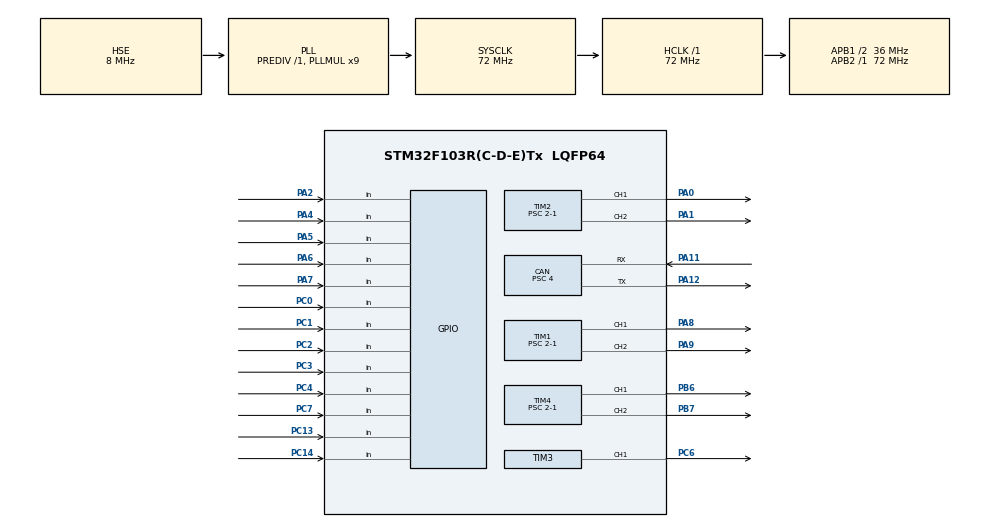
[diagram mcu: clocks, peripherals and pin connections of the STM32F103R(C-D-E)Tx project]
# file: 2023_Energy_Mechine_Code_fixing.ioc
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CAN.ABOM=DISABLE
CAN.AWUM=ENABLE
CAN.BS1=CAN_BS1_5TQ
CAN.BS2=CAN_BS2_3TQ
CAN.CalculateBaudRate=1000000
CAN.CalculateTimeBit=1000
CAN.CalculateTimeQuantum=111.11111111111111
CAN.Prescaler=4
CAN.SJW=CAN_SJW_1TQ
CAN.TXFP=ENABLE
Dma.Request0=TIM2_CH1
Dma.Request1=TIM2_CH2/CH4
Dma.Request2=TIM3_CH1/TRIG
Dma.Request3=TIM1_CH1
Dma.Request4=TIM1_CH2
Dma.Request5=TIM4_CH1
Dma.Request6=TIM4_CH2
Dma.TIM1_CH1.3.Direction=DMA_MEMORY_TO_PERIPH
Dma.TIM1_CH1.3.Instance=DMA1_Channel2
Dma.TIM1_CH1.3.MemDataAlignment=DMA_MDATAALIGN_HALFWORD
Dma.TIM1_CH1.3.MemInc=DMA_MINC_ENABLE
Dma.TIM1_CH1.3.Mode=DMA_CIRCULAR
Dma.TIM1_CH1.3.PeriphDataAlignment=DMA_PDATAALIGN_HALFWORD
Dma.TIM1_CH1.3.PeriphInc=DMA_PINC_DISABLE
Dma.TIM1_CH1.3.Priority=DMA_PRIORITY_MEDIUM
Dma.TIM1_CH2.4.Direction=DMA_MEMORY_TO_PERIPH
Dma.TIM1_CH2.4.Instance=DMA1_Channel3
Dma.TIM1_CH2.4.MemDataAlignment=DMA_MDATAALIGN_HALFWORD
Dma.TIM1_CH2.4.MemInc=DMA_MINC_ENABLE
Dma.TIM1_CH2.4.Mode=DMA_CIRCULAR
Dma.TIM1_CH2.4.PeriphDataAlignment=DMA_PDATAALIGN_HALFWORD
Dma.TIM1_CH2.4.PeriphInc=DMA_PINC_DISABLE
Dma.TIM1_CH2.4.Priority=DMA_PRIORITY_MEDIUM
Dma.TIM2_CH1.0.Direction=DMA_MEMORY_TO_PERIPH
Dma.TIM2_CH1.0.Instance=DMA1_Channel5
Dma.TIM2_CH1.0.MemDataAlignment=DMA_MDATAALIGN_HALFWORD
Dma.TIM2_CH1.0.MemInc=DMA_MINC_ENABLE
Dma.TIM2_CH1.0.Mode=DMA_CIRCULAR
Dma.TIM2_CH1.0.PeriphDataAlignment=DMA_PDATAALIGN_HALFWORD
Dma.TIM2_CH1.0.PeriphInc=DMA_PINC_DISABLE
Dma.TIM2_CH1.0.Priority=DMA_PRIORITY_MEDIUM
Dma.TIM2_CH2/CH4.1.Direction=DMA_MEMORY_TO_PERIPH
Dma.TIM2_CH2/CH4.1.Instance=DMA1_Channel7
Dma.TIM2_CH2/CH4.1.MemDataAlignment=DMA_MDATAALIGN_HALFWORD
Dma.TIM2_CH2/CH4.1.MemInc=DMA_MINC_ENABLE
Dma.TIM2_CH2/CH4.1.Mode=DMA_CIRCULAR
Dma.TIM2_CH2/CH4.1.PeriphDataAlignment=DMA_PDATAALIGN_HALFWORD
Dma.TIM2_CH2/CH4.1.PeriphInc=DMA_PINC_DISABLE
Dma.TIM2_CH2/CH4.1.Priority=DMA_PRIORITY_MEDIUM
Dma.TIM3_CH1/TRIG.2.Direction=DMA_MEMORY_TO_PERIPH
Dma.TIM3_CH1/TRIG.2.Instance=DMA1_Channel6
Dma.TIM3_CH1/TRIG.2.MemDataAlignment=DMA_MDATAALIGN_HALFWORD
Dma.TIM3_CH1/TRIG.2.MemInc=DMA_MINC_ENABLE
Dma.TIM3_CH1/TRIG.2.Mode=DMA_CIRCULAR
Dma.TIM3_CH1/TRIG.2.PeriphDataAlignment=DMA_PDATAALIGN_HALFWORD
Dma.TIM3_CH1/TRIG.2.PeriphInc=DMA_PINC_DISABLE
Dma.TIM3_CH1/TRIG.2.Priority=DMA_PRIORITY_MEDIUM
Dma.TIM4_CH1.5.Direction=DMA_MEMORY_TO_PERIPH
Dma.TIM4_CH1.5.Instance=DMA1_Channel1
Dma.TIM4_CH1.5.MemDataAlignment=DMA_MDATAALIGN_HALFWORD
Dma.TIM4_CH1.5.MemInc=DMA_MINC_ENABLE
Dma.TIM4_CH1.5.Mode=DMA_CIRCULAR
Dma.TIM4_CH1.5.PeriphDataAlignment=DMA_PDATAALIGN_HALFWORD
Dma.TIM4_CH1.5.PeriphInc=DMA_PINC_DISABLE
Dma.TIM4_CH1.5.Priority=DMA_PRIORITY_MEDIUM
Dma.TIM4_CH2.6.Direction=DMA_MEMORY_TO_PERIPH
Dma.TIM4_CH2.6.Instance=DMA1_Channel4
Dma.TIM4_CH2.6.MemDataAlignment=DMA_MDATAALIGN_HALFWORD
Dma.TIM4_CH2.6.MemInc=DMA_MINC_ENABLE
Dma.TIM4_CH2.6.Mode=DMA_CIRCULAR
Dma.TIM4_CH2.6.PeriphDataAlignment=DMA_PDATAALIGN_HALFWORD
Dma.TIM4_CH2.6.PeriphInc=DMA_PINC_DISABLE
Dma.TIM4_CH2.6.Priority=DMA_PRIORITY_MEDIUM
Mcu.Family=STM32F1
Mcu.Name=STM32F103R(C-D-E)Tx
Mcu.Package=LQFP64
NVIC.CAN1_RX1_IRQn=true\:5\:0\:true\:false\:true\:true\:true\:true
NVIC.DMA1_Channel1_IRQn=true\:0\:0\:false\:false\:true\:false\:true\:true
NVIC.DMA1_Channel2_IRQn=true\:0\:0\:false\:false\:true\:false\:true\:true
NVIC.DMA1_Channel3_IRQn=true\:0\:0\:false\:false\:true\:false\:true\:true
NVIC.DMA1_Channel4_IRQn=true\:0\:0\:false\:false\:true\:false\:true\:true
NVIC.DMA1_Channel5_IRQn=true\:0\:0\:false\:false\:true\:false\:true\:true
NVIC.DMA1_Channel6_IRQn=true\:0\:0\:false\:false\:true\:false\:true\:true
NVIC.DMA1_Channel7_IRQn=true\:0\:0\:false\:false\:true\:false\:true\:true
NVIC.PriorityGroup=NVIC_PRIORITYGROUP_4
NVIC.USB_LP_CAN1_RX0_IRQn=true\:0\:0\:false\:false\:true\:true\:true\:true
PA0-WKUP.Signal=S_TIM2_CH1_ETR
PA1.Signal=S_TIM2_CH2
PA11.Mode=CAN_Activate
PA11.Signal=CAN_RX
PA12.GPIO_Speed=GPIO_SPEED_FREQ_HIGH
PA12.Mode=CAN_Activate
PA12.Signal=CAN_TX
PA13.Mode=Serial_Wire
PA13.Signal=SYS_JTMS-SWDIO
PA14.Mode=Serial_Wire
PA14.Signal=SYS_JTCK-SWCLK
PA2.Signal=GPIO_Input
PA4.GPIO_PuPd=GPIO_PULLUP
PA4.Signal=GPIO_Input
PA5.GPIO_PuPd=GPIO_PULLUP
PA5.Signal=GPIO_Input
PA6.GPIO_PuPd=GPIO_PULLUP
PA6.Signal=GPIO_Input
PA7.GPIO_PuPd=GPIO_PULLUP
PA7.Signal=GPIO_Input
PA8.Signal=S_TIM1_CH1
PA9.Signal=S_TIM1_CH2
PB6.Signal=S_TIM4_CH1
PB7.Signal=S_TIM4_CH2
PC0.GPIO_PuPd=GPIO_PULLUP
PC0.Signal=GPIO_Input
PC1.GPIO_PuPd=GPIO_PULLUP
PC1.Signal=GPIO_Input
PC13-TAMPER-RTC.GPIO_PuPd=GPIO_PULLUP
PC13-TAMPER-RTC.Signal=GPIO_Input
PC14-OSC32_IN.GPIO_PuPd=GPIO_PULLUP
PC14-OSC32_IN.Signal=GPIO_Input
PC2.GPIO_PuPd=GPIO_PULLUP
PC2.Signal=GPIO_Input
PC3.GPIO_PuPd=GPIO_PULLUP
PC3.Signal=GPIO_Input
PC4.GPIO_PuPd=GPIO_PULLUP
PC4.Signal=GPIO_Input
PC6.Signal=S_TIM3_CH1
PC7.GPIO_PuPd=GPIO_PULLUP
PC7.Signal=GPIO_Input
PD0-OSC_IN.Mode=HSE-External-Oscillator
PD0-OSC_IN.Signal=RCC_OSC_IN
PD1-OSC_OUT.Mode=HSE-External-Oscillator
PD1-OSC_OUT.Signal=RCC_OSC_OUT
ProjectManager.HeapSize=0x200
ProjectManager.StackSize=0x400
ProjectManager.TargetToolchain=MDK-ARM V5
RCC.AHBFreq_Value=72000000
RCC.APB1CLKDivider=RCC_HCLK_DIV2
RCC.APB1Freq_Value=36000000
RCC.APB1TimFreq_Value=72000000
RCC.APB2Freq_Value=72000000
RCC.APB2TimFreq_Value=72000000
RCC.HCLKFreq_Value=72000000
RCC.PLLMUL=RCC_PLL_MUL9
RCC.PLLSourceVirtual=RCC_PLLSOURCE_HSE
RCC.SYSCLKFreq_VALUE=72000000
RCC.SYSCLKSource=RCC_SYSCLKSOURCE_PLLCLK
RCC.USBFreq_Value=72000000
SH.S_TIM1_CH1.0=TIM1_CH1,PWM Generation1 CH1
SH.S_TIM1_CH2.0=TIM1_CH2,PWM Generation2 CH2
SH.S_TIM2_CH1_ETR.0=TIM2_CH1,PWM Generation1 CH1
SH.S_TIM2_CH2.0=TIM2_CH2,PWM Generation2 CH2
SH.S_TIM3_CH1.0=TIM3_CH1,PWM Generation1 CH1
SH.S_TIM4_CH1.0=TIM4_CH1,PWM Generation1 CH1
SH.S_TIM4_CH2.0=TIM4_CH2,PWM Generation2 CH2
TIM1.Channel-PWM\ Generation1\ CH1=TIM_CHANNEL_1
TIM1.Channel-PWM\ Generation2\ CH2=TIM_CHANNEL_2
TIM1.Period=45-1
TIM1.Prescaler=2-1
TIM1.Pulse-PWM\ Generation1\ CH1=20
TIM2.Channel-PWM\ Generation1\ CH1=TIM_CHANNEL_1
TIM2.Channel-PWM\ Generation2\ CH2=TIM_CHANNEL_2
TIM2.Period=45-1
TIM2.Prescaler=2-1
TIM2.Pulse-PWM\ Generation1\ CH1=15
TIM3.Channel-PWM\ Generation1\ CH1=TIM_CHANNEL_1
TIM3.Period=45-1
TIM3.Prescaler=2-1
TIM3.Pulse-PWM\ Generation1\ CH1=20
TIM4.Channel-PWM\ Generation1\ CH1=TIM_CHANNEL_1
TIM4.Channel-PWM\ Generation2\ CH2=TIM_CHANNEL_2
TIM4.Period=45
TIM4.Prescaler=2-1
VP_TIM1_VS_ClockSourceINT.Mode=Internal
VP_TIM2_VS_ClockSourceINT.Mode=Internal
board=custom

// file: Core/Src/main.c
/* USER CODE BEGIN Header */
/**
  ******************************************************************************
  * @file           : main.c
  * @brief          : Main program body
  ******************************************************************************
  * @attention
  *  2023 RobotPiolts
  *  能量机关小主控代码
  *  作者：zs
	*  邮件：szhangszu@163.com
	*  QQ:   1273890169
  *
  *
  *
  ******************************************************************************
  */
/* USER CODE END Header */
#include "main.h"
#include "can.h"
#include "dma.h"
#include "tim.h"
#include "gpio.h"

/* USER CODE BEGIN Includes */
#include "WS2812.h"
#include "can_protocal.h"
#include "Flag_State.h"

/* USER CODE END Includes */

/* USER CODE BEGIN PTD */
uint8_t up_state;
uint16_t cntt;
uint16_t down_cntt;
uint16_t Twinkle_time_cnt, Twinkle_time_cnt_times;
Rings_Key_t Rings_Key;
Rings_Key_record_t Rings_Key_record;
uint16_t buffer_time;
void state_1(void);
void state_2(void);
/* USER CODE END PTD */

/* USER CODE BEGIN PD */
#define YES 1
#define NO  0

//五块符叶主控序号，0-4

#define BOARD_NUMBER   1

//五块符叶主控序号，0-4

#define RED_NUM       150
#define GREEN_NUM     150
#define BLUE_NUM      150
/* USER CODE END PD */

void SystemClock_Config(void);

int main(void)
{

  /* MCU Configuration--------------------------------------------------------*/

  /* Reset of all peripherals, Initializes the Flash interface and the Systick. */
  HAL_Init();

  /* Configure the system clock */
  SystemClock_Config();

  /* Initialize all configured peripherals */
  MX_GPIO_Init();
  MX_DMA_Init();
  MX_CAN_Init();
  MX_TIM2_Init();
  MX_TIM3_Init();
  MX_TIM1_Init();
  MX_TIM4_Init();
  /* USER CODE BEGIN 2 */
  CAN1_Init();
  /* USER CODE END 2 */

  /* Infinite loop */
  /* USER CODE BEGIN WHILE */
		/* 标志位初始化 */
	Big_Fu_info_Init(Big_Fu_info);
	WS_WriteAll_RGB_FRAME_DOWN(0,0,0);
	WS_WriteAll_RGB_FRAME(0,0,0);
	WS_WriteAll_RGB_REC(0,0,0);
	WS_WriteAll_RGB_FRAME_UP(0,0,0);
	WS_CloseAll_Circle();

uint32_t which=1;
uint32_t sum=3;
HAL_Delay((which-1)*2500);
for(uint32_t i=0;i<100000000;i++)
{
// light(which,sum);
//	which++;
//	if(which==sum)
//	{which=1;}

//	HAL_Delay((which-1)*2500);
	state_1();
	HAL_Delay(2500);
	state_2();
	HAL_Delay(3*2500);
}

	/* 标志位初始化 */
//	Big_Fu_info_Init(Big_Fu_info);
//	WS_WriteAll_RGB_FRAME_DOWN(0,0,0);
//	WS_WriteAll_RGB_FRAME(0,0,0);
//	WS_WriteAll_RGB_REC(0,0,0);
//	WS_WriteAll_RGB_FRAME_UP(0,0,0);
//	WS_CloseAll_Circle();
////          HAL_Delay(800);
////		 HAL_Delay(5800);
////      HAL_Delay(10800);
//			HAL_Delay(15800);
////HAL_Delay(20800);
//		WS_Write_Cross(0,0,255);
//		WS_Write_RGB_TWO_RING(0,0,255);
//		WS_Write_RGB_SEVEN_RING(0,0,255);
//		WS_Write_RGB_NINE_RING(0,0,255);
////
////		WS_WriteAll_RGB_FRAME_DOWN(0,0,255);
////		WS_WriteAll_RGB_FRAME_UP(0,0,255);
//////    WS_WriteAll_RGB_FRAME(0,0,255);
//////      HAL_Delay(800);

////				WS_Write_Cross(0,0,255);
////		WS_Write_RGB_TWO_RING(0,0,255);
////		WS_Write_RGB_SEVEN_RING(0,0,255);
////		WS_Write_RGB_NINE_RING(0,0,255);
//////
//////
//////		WS_Write_RGB_ALL_RING(0,0,225);
////		WS_WriteAll_RGB_FRAME_DOWN(0,0,255);
////		WS_WriteAll_RGB_FRAME_UP(0,0,255);
//////      WS_WriteAll_RGB_FRAME(0,0,255);
////  		LED_Blue_rectangle_current(20000,0,0,255);
////			HAL_Delay(10000000);
////    HAL_Delay(2000);
////		HAL_Delay(5000);
//		HAL_Delay(8000);
//// 	 HAL_Delay(9000);
////		HAL_Delay(12000);

//				WS_Write_Cross(0,0,255);
//		WS_Write_RGB_TWO_RING(0,0,255);
//		WS_Write_RGB_SEVEN_RING(0,0,255);
//		WS_Write_RGB_NINE_RING(0,0,255);
////
//////
//////		WS_Write_RGB_ALL_RING(0,0,225);
//		WS_WriteAll_RGB_FRAME_DOWN(0,0,255);
//		WS_WriteAll_RGB_FRAME_UP(0,0,255);
////      WS_WriteAll_RGB_FRAME(0,0,255);
//  		LED_Blue_rectangle_current(20000,0,0,255);
//			HAL_Delay(2000);
//
//			WS_WriteAll_RGB_REC(0,0,150);
//			WS_WriteAll_RGB_FRAME(0,0,150);
//				WS_CloseAll_Circle();
//				WS_Write_RGB_FIVE_RING(0,0,255);
//
//			HAL_Delay(10000000);
  while (1)
  {
//		if(HAL_GPIO_ReadPin(GPIOC,GPIO_PIN_12)==0)
//		{
//			cnt++;
//		}

//		WS_Write_RGB_ALL_RING(0,0,225);
//		WS_WriteAll_RGB_FRAME_DOWN(0,0,255);
//		WS_WriteAll_RGB_FRAME_UP(0,0,255);
//      WS_WriteAll_RGB_FRAME(0,0,255);
//  		LED_Blue_rectangle_current(20000,0,0,255);
//
//
//				WS_Write_Cross(0,0,255);
//		WS_Write_RGB_TWO_RING(0,0,255);
//		WS_Write_RGB_SEVEN_RING(0,0,255);
//		WS_Write_RGB_NINE_RING(0,0,255);
//		WS_Write_Cross(0,0,255);
//		WS_Write_RGB_TWO_RING(0,0,255);
//		WS_Write_RGB_SEVEN_RING(0,0,255);
//		WS_Write_RGB_NINE_RING(0,0,255);

		  LED_Blue_rectangle_current(10000,0,0,255);
//				WS_Write_Cross(0,0,255);
//		WS_Write_RGB_TWO_RING(0,0,255);
//		WS_Write_RGB_SEVEN_RING(0,0,255);
//		WS_Write_RGB_NINE_RING(0,0,255);

			Rings_Key.one_ring   = HAL_GPIO_ReadPin(GPIOC,GPIO_PIN_13);
			Rings_Key.two_ring   = HAL_GPIO_ReadPin(GPIOC,GPIO_PIN_14);
			Rings_Key.three_ring = HAL_GPIO_ReadPin(GPIOC,GPIO_PIN_0);
			Rings_Key.four_ring  = HAL_GPIO_ReadPin(GPIOC,GPIO_PIN_1);
			Rings_Key.five_ring  = HAL_GPIO_ReadPin(GPIOC,GPIO_PIN_2);
			Rings_Key.six_ring   = HAL_GPIO_ReadPin(GPIOC,GPIO_PIN_3);
			Rings_Key.seven_ring = HAL_GPIO_ReadPin(GPIOA,GPIO_PIN_4);
			Rings_Key.eight_ring = HAL_GPIO_ReadPin(GPIOA,GPIO_PIN_5);
			Rings_Key.nine_ring  = HAL_GPIO_ReadPin(GPIOA,GPIO_PIN_6);
		  Rings_Key.ten_ring   = HAL_GPIO_ReadPin(GPIOA,GPIO_PIN_7);

/*待击打显示*/
			if(Big_Fu_info[BOARD_NUMBER].Hit_LED_state == NO && Big_Fu_info[BOARD_NUMBER].Single_Hit_State == 0 && Board_Order_info[BOARD_NUMBER].Board_Work == 1)
//			if(Big_Fu_info[BOARD_NUMBER].Hit_LED_state == NO && Big_Fu_info[BOARD_NUMBER].Single_Hit_State == 0  )

			{
//
        WS_Write_Cross(0,0,BLUE_NUM);
				WS_Write_RGB_TWO_RING(0,0,BLUE_NUM);
				WS_Write_RGB_SIX_RING(0,0,BLUE_NUM);
				WS_Write_RGB_NINE_RING(0,0,BLUE_NUM);

				if(cntt<=50)
				cntt++;
				if(cntt <= 30)
				{
					LED_Blue_rectangle_current(0,0,0,BLUE_NUM);
          WS_WriteAll_RGB_FRAME_UP(0,0,BLUE_NUM);
          WS_WriteAll_RGB_FRAME_DOWN(0,0,BLUE_NUM);
				}

				if(cntt >= 50)
				{
					HAL_TIM_PWM_Stop_DMA(&htim2, TIM_CHANNEL_2);
					HAL_TIM_PWM_Stop_DMA(&htim3, TIM_CHANNEL_1);
					cntt = 51;

				}
				/* 判断是否击打 */
				if(Rings_Key.one_ring == 0
				||Rings_Key.two_ring == 0
		   	||Rings_Key.three_ring == 0
				||Rings_Key.four_ring == 0
	    	||Rings_Key.five_ring == 0
			  ||Rings_Key.six_ring == 0
				||Rings_Key.seven_ring == 0
			  ||Rings_Key.eight_ring == 0
			  ||Rings_Key.nine_ring == 0
			  ||Rings_Key.ten_ring == 0)
			{
		    Big_Fu_info[BOARD_NUMBER].Hit_LED_state = 1;
				buffer_time++;
				WS_CloseAll_Circle();
		  }
			else
			{
        buffer_time	 = 0;
			}
			/* buffer_time的设置是防止弹丸瞬间击打到两个环的中间部分导致两环电平同时变化从而同时点亮 */

				if(buffer_time > 0)
				{
					  if(Rings_Key.one_ring == 0)
						{
							Rings_Key_record.one_ring_record = 1;
						}
						else if(Rings_Key.two_ring == 0)
						{
							Rings_Key_record.two_ring_record = 1;
						}
						else if(Rings_Key.three_ring == 0)
						{
							Rings_Key_record.three_ring_record = 1;
						}
						else if(Rings_Key.four_ring == 0)
						{
							Rings_Key_record.four_ring_record = 1;
						}
						else if(Rings_Key.five_ring == 0)
						{
							Rings_Key_record.five_ring_record = 1;
						}
						else if(Rings_Key.six_ring == 0)
						{
							Rings_Key_record.six_ring_record = 1;
						}
						else if(Rings_Key.seven_ring == 0)
						{
							Rings_Key_record.seven_ring_record = 1;
						}
						else if(Rings_Key.eight_ring == 0)
						{
							Rings_Key_record.eight_ring_record = 1;
						}
						else if(Rings_Key.nine_ring == 0)
						{
							Rings_Key_record.nine_ring_record = 1;
						}
						else if(Rings_Key.ten_ring == 0)
						{
							Rings_Key_record.ten_ring_record = 1;
						}

						 if(Rings_Key_record.one_ring_record && Rings_Key_record.two_ring_record)
						{
							Rings_Key_record.two_ring_record = 0;
						}
						else if(Rings_Key_record.two_ring_record && Rings_Key_record.three_ring_record)
						{
							Rings_Key_record.three_ring_record = 0;
						}
						else if(Rings_Key_record.three_ring_record && Rings_Key_record.four_ring_record)
						{
							Rings_Key_record.four_ring_record = 0;
						}
						else if(Rings_Key_record.four_ring_record && Rings_Key_record.five_ring_record)
						{
							Rings_Key_record.five_ring_record = 0;
						}
						else if(Rings_Key_record.five_ring_record && Rings_Key_record.six_ring_record)
						{
							Rings_Key_record.six_ring_record = 0;
						}
						else if(Rings_Key_record.six_ring_record && Rings_Key_record.seven_ring_record)
						{
							Rings_Key_record.seven_ring_record = 0;
						}
						else if(Rings_Key_record.seven_ring_record && Rings_Key_record.eight_ring_record)
						{
							Rings_Key_record.eight_ring_record = 0 ;
						}
//						else if(Rings_Key_record.eight_ring_record && Rings_Key_record.nine_ring_record)
//						{
//							Rings_Key_record.nine_ring_record = 0;
//						}
//						else if(Rings_Key_record.nine_ring_record && Rings_Key_record.ten_ring_record)
//						{
//							Rings_Key_record.ten_ring_record = 0;
//						}

				}
			}
      /*击中确认*/
		 	if(Big_Fu_info[BOARD_NUMBER].Hit_LED_state == YES  )
//			if(Big_Fu_info[BOARD_NUMBER].Hit_LED_state == YES && Board_Order_info[BOARD_NUMBER].Twinkle_state == NO && Board_Order_info[BOARD_NUMBER].Board_Work == 1)
			{
				Big_Fu_info[BOARD_NUMBER].Single_Hit_State =YES;
				cntt = 0;
				down_cntt = 0;

			}
			/*显示击中灯效*/
			if(Big_Fu_info[BOARD_NUMBER].Single_Hit_State == YES  )
//			if(Big_Fu_info[BOARD_NUMBER].Single_Hit_State == YES && Board_Order_info[BOARD_NUMBER].Twinkle_state == NO  )
			{
  			WS_CloseAll_Circle();

				WS_WriteAll_RGB_REC(0,0,BLUE_NUM);

        WS_WriteAll_RGB_FRAME(0,0,BLUE_NUM);

        if(Rings_Key_record.one_ring_record == 1)
				{
					WS_Write_RGB_ONE_RING(0,0,BLUE_NUM);
					HAL_Delay(10000000);
				}
		  	if(Rings_Key_record.two_ring_record == 1)
				{
					WS_Write_RGB_TWO_RING(0,0,BLUE_NUM);
          HAL_Delay(10000000);
				}
				if(Rings_Key_record.three_ring_record == 1)
				{
					WS_Write_RGB_THREE_RING(0,0,BLUE_NUM);
					HAL_Delay(10000000);
				}
				if(Rings_Key_record.four_ring_record == 1)
				{
					WS_Write_RGB_FOUR_RING(0,0,BLUE_NUM);
					HAL_Delay(10000000);
				}
				if(Rings_Key_record.five_ring_record == 1)
				{
					WS_Write_RGB_FIVE_RING(0,0,BLUE_NUM);
					HAL_Delay(10000000);
				}
				if(Rings_Key_record.six_ring_record == 1)
				{
					WS_Write_RGB_SIX_RING(0,0,BLUE_NUM);
					HAL_Delay(10000000);
				}
				if(Rings_Key_record.seven_ring_record == 1)
				{
					WS_Write_RGB_SEVEN_RING(0,0,BLUE_NUM);
					HAL_Delay(10000000);
				}
				if(Rings_Key_record.eight_ring_record == 1)
				{
					WS_Write_RGB_EIGHT_RING(0,0,BLUE_NUM);
					HAL_Delay(10000000);
				}
////
    /* USER CODE END WHILE */

    /* USER CODE BEGIN 3 */

		 /**************************************测试代码***************************************/
		/***************微动开关测试*********************/
//		Big_Fu_info[BOARD_NUMBER].Hit_LED_state = HAL_GPIO_ReadPin(GPIOC,GPIO_PIN_7);
//		if(Big_Fu_info[BOARD_NUMBER].Hit_LED_state == 0)
//		{
//			WS_Write_RGB_ONE_RING(0,0,255);
//		}
//		 else
//		{
//			WS_Write_RGB_ONE_RING(0,0,0);
//		}
	  /***************微动开关测试*********************/

		/*****************圆环流水灯*********************/
//		WS_Write_Cross(0,0,255);
//		WS_WriteAll_RGB_FRAME_DOWN(0,0,255);
//		WS_WriteAll_RGB_FRAME_UP(0,0,255);
//		cntt++;
//		if(cntt>=0 && cntt < 50)
//		{
//			 WS_Write_RGB_TEN_RING(0,0,255);
////			 WS_WriteAll_RGB_FRAME_DOWN(0,0,255);
////			 WS_WriteAll_RGB_FRAME_UP(0,0,255);
//		}
//		if(cntt>=50 && cntt < 100)
//		{
//			WS_CloseAll_Circle();
////			WS_WriteAll_RGB_FRAME_DOWN(0,0,0);
////      WS_WriteAll_RGB_FRAME_UP(0,0,0);
//		}
//		if(cntt>=100 && cntt < 150)
//		{
//			WS_Write_RGB_NINE_RING(55,0,200);
////			WS_WriteAll_RGB_FRAME_DOWN(255,0,0);
////			WS_WriteAll_RGB_FRAME_UP(255,0,0);
//		}
//		if(cntt>=150 && cntt < 200)
//		{
//			WS_CloseAll_Circle();
////			WS_WriteAll_RGB_FRAME_DOWN(0,0,0);
////      WS_WriteAll_RGB_FRAME_UP(0,0,0);
//		}
//		if(cntt>=200 && cntt < 250)
//		{
//			WS_Write_RGB_EIGHT_RING(105,0,150);
////			WS_WriteAll_RGB_FRAME_DOWN(0,0,255);
////			WS_WriteAll_RGB_FRAME_UP(0,0,255);
//		}
//		if(cntt>=250 && cntt < 300)
//		{
//			WS_CloseAll_Circle();
////			WS_WriteAll_RGB_FRAME_DOWN(0,0,0);
////      WS_WriteAll_RGB_FRAME_UP(0,0,0);
//		}
//		if(cntt>=300 && cntt < 350)
//		{
//			WS_Write_RGB_SEVEN_RING(155,0,100);
////			WS_WriteAll_RGB_FRAME_DOWN(255,0,0);
////	   	WS_WriteAll_RGB_FRAME_UP(255,0,0);
//		}
//		if(cntt>=350 && cntt < 400)
//		{
//			WS_CloseAll_Circle();
////			WS_WriteAll_RGB_FRAME_DOWN(0,0,0);
////      WS_WriteAll_RGB_FRAME_UP(0,0,0);
//		}
//		if(cntt>=400 && cntt < 450)
//		{
//			WS_Write_RGB_SIX_RING(175,0,80);
////			WS_WriteAll_RGB_FRAME_DOWN(0,0,255);
////			WS_WriteAll_RGB_FRAME_UP(0,0,255);
//		}
//		if(cntt>=450 && cntt < 500)
//		{
//			WS_CloseAll_Circle();
////			WS_WriteAll_RGB_FRAME_DOWN(0,0,0);
////      WS_WriteAll_RGB_FRAME_UP(0,0,0);
//		}
//	  if(cntt>=500 && cntt < 550)
//		{
//			WS_Write_RGB_FIVE_RING(200,0,55);
////			WS_WriteAll_RGB_FRAME_DOWN(255,0,0);
////	   	WS_WriteAll_RGB_FRAME_UP(255,0,0);
//		}
//		if(cntt>=550 && cntt < 600)
//		{
//			WS_CloseAll_Circle();
////			WS_WriteAll_RGB_FRAME_DOWN(0,0,0);
////      WS_WriteAll_RGB_FRAME_UP(0,0,0);
//		}
//		if(cntt>=600 && cntt < 650)
//		{
//			WS_Write_RGB_FOUR_RING(235,0,20);
////			WS_WriteAll_RGB_FRAME_DOWN(0,0,255);
////			WS_WriteAll_RGB_FRAME_UP(0,0,255);
//		}
//		if(cntt>=650 && cntt < 700)
//		{
//			WS_CloseAll_Circle();
////			WS_WriteAll_RGB_FRAME_DOWN(0,0,0);
////      WS_WriteAll_RGB_FRAME_UP(0,0,0);
//		}
//		if(cntt>=700 && cntt < 750)
//		{
//			WS_Write_RGB_THREE_RING(255,0,0);
////			WS_WriteAll_RGB_FRAME_DOWN(255,0,0);
////	   	WS_WriteAll_RGB_FRAME_UP(255,0,0);
//		}
//		if(cntt>=750 && cntt < 800)
//		{
//			WS_CloseAll_Circle();
////			WS_WriteAll_RGB_FRAME_DOWN(0,0,0);
////      WS_WriteAll_RGB_FRAME_UP(0,0,0);
//		}
//		if(cntt>=800 && cntt < 850)
//		{
//			WS_Write_RGB_TWO_RING(200,55,0);
////			WS_WriteAll_RGB_FRAME_DOWN(0,0,255);
////			WS_WriteAll_RGB_FRAME_UP(0,0,255);
//		}
//		if(cntt>=850 && cntt < 900)
//		{
//			WS_CloseAll_Circle();
////			WS_WriteAll_RGB_FRAME_DOWN(0,0,0);
////      WS_WriteAll_RGB_FRAME_UP(0,0,0);
//		}
//		if(cntt>=900 && cntt < 950)
//		{
//			WS_Write_RGB_ONE_RING(155,100,0);
////			WS_WriteAll_RGB_FRAME_DOWN(255,0,0);
////	   	WS_WriteAll_RGB_FRAME_UP(255,0,0);
//		}
//		if(cntt >= 950)
//		cntt=0;
   /*****************圆环流水灯*********************/

	 /*****************待激活灯效*********************/

//		WS_Write_Cross(0,0,255);
//		WS_Write_RGB_TWO_RING(0,0,255);
//		WS_Write_RGB_SEVEN_RING(0,0,255);
//		WS_Write_RGB_NINE_RING(0,0,255);

   /*****************待激活灯效*********************/

	 /*****************关闭靶环*********************/
		//WS_CloseAll_Circle();
		/*****************关闭靶环*********************/

		/*十环测试*/
			  #if 0
		    if(Rings_Key.one_ring == 0)   WS_Write_RGB_ONE_RING(0,0,255);
		  	if(Rings_Key.two_ring == 0)   WS_Write_RGB_TWO_RING(0,0,255);
				if(Rings_Key.three_ring == 0) WS_Write_RGB_THREE_RING(0,0,255);
				if(Rings_Key.four_ring == 0)  WS_Write_RGB_FOUR_RING(0,0,255);
				if(Rings_Key.five_ring == 0)  WS_Write_RGB_FIVE_RING(0,0,255);
				if(Rings_Key.six_ring == 0)   WS_Write_RGB_SIX_RING(0,0,255);
				if(Rings_Key.seven_ring == 0) WS_Write_RGB_SEVEN_RING(0,0,255);
				if(Rings_Key.eight_ring == 0) WS_Write_RGB_EIGHT_RING(0,0,255);
				if(Rings_Key.nine_ring == 0)  WS_Write_RGB_NINE_RING(0,0,255);
				if(Rings_Key.ten_ring == 0)   WS_Write_RGB_ALL_RING(0,0,255);
				#endif

				#if 0
			  if(Rings_Key.one_ring == 0)   WS_Write_RGB_ONE_RING(255,0,0);
		  	if(Rings_Key.two_ring == 0)   WS_Write_RGB_TWO_RING(255,0,0);
				if(Rings_Key.three_ring == 0) WS_Write_RGB_THREE_RING(255,0,0);
				if(Rings_Key.four_ring == 0)  WS_Write_RGB_FOUR_RING(255,0,0);
				if(Rings_Key.five_ring == 0)  WS_Write_RGB_FIVE_RING(255,0,0);
				if(Rings_Key.six_ring == 0)   WS_Write_RGB_SIX_RING(255,0,0);
				if(Rings_Key.seven_ring == 0) WS_Write_RGB_SEVEN_RING(255,0,0);
				if(Rings_Key.eight_ring == 0) WS_Write_RGB_EIGHT_RING(255,0,0);
				if(Rings_Key.nine_ring == 0)  WS_Write_RGB_NINE_RING(255,0,0);
				if(Rings_Key.ten_ring == 0)   WS_Write_RGB_ALL_RING(255,0,0);
				#endif

    /**************************************测试代码***************************************/

  		Board_Info_Tx();
		/*读取微动开关数据*/
			Rings_Key.one_ring   = HAL_GPIO_ReadPin(GPIOC,GPIO_PIN_13);
			Rings_Key.two_ring   = HAL_GPIO_ReadPin(GPIOC,GPIO_PIN_14);
			Rings_Key.three_ring = HAL_GPIO_ReadPin(GPIOC,GPIO_PIN_0);
			Rings_Key.four_ring  = HAL_GPIO_ReadPin(GPIOC,GPIO_PIN_1);
			Rings_Key.five_ring  = HAL_GPIO_ReadPin(GPIOC,GPIO_PIN_2);
			Rings_Key.six_ring   = HAL_GPIO_ReadPin(GPIOC,GPIO_PIN_3);
			Rings_Key.seven_ring = HAL_GPIO_ReadPin(GPIOA,GPIO_PIN_4);
			Rings_Key.eight_ring = HAL_GPIO_ReadPin(GPIOA,GPIO_PIN_5);
			Rings_Key.nine_ring  = HAL_GPIO_ReadPin(GPIOA,GPIO_PIN_6);
		  Rings_Key.ten_ring   = HAL_GPIO_ReadPin(GPIOA,GPIO_PIN_7);

      //如果按键损坏，临时解决方案为拉高整个环的引脚

  if(!Board_Order_info[BOARD_NUMBER].RainBow_Flag)
 {
		/* 颜色实时更新*/
		Big_Fu_info[BOARD_NUMBER].Color =  Board_Order_info[BOARD_NUMBER].Set_Color;

		/*颜色跳变：所有计数计时变量以及标志位清零*/
		if(Big_Fu_info[BOARD_NUMBER].Color != Big_Fu_info[BOARD_NUMBER].Last_Color)
		{
			Twinkle_time_cnt = 0;
			Twinkle_time_cnt_times = 0;
			buffer_time = 0;
			WS_WriteAll_RGB_FRAME_DOWN(0,0,0);
			WS_WriteAll_RGB_FRAME(0,0,0);
			WS_WriteAll_RGB_REC(0,0,0);
			WS_WriteAll_RGB_FRAME_UP(0,0,0);
			Big_Fu_info[BOARD_NUMBER].Single_Hit_State = 0;
			Big_Fu_info[BOARD_NUMBER].Hit_LED_state = 0;
			Big_Fu_info[BOARD_NUMBER].Twinkle_Already = 0;
			WS_CloseAll_Circle();

			Rings_Key_record.one_ring_record = 0;
			Rings_Key_record.two_ring_record = 0;
			Rings_Key_record.three_ring_record = 0;
			Rings_Key_record.four_ring_record = 0;
			Rings_Key_record.five_ring_record = 0;
			Rings_Key_record.six_ring_record = 0;
			Rings_Key_record.seven_ring_record = 0;
			Rings_Key_record.eight_ring_record = 0;
			Rings_Key_record.nine_ring_record = 0;
			Rings_Key_record.ten_ring_record = 0;

			cntt = 0;

		}
		Big_Fu_info[BOARD_NUMBER].Last_Color = Big_Fu_info[BOARD_NUMBER].Color;

		if(Board_Order_info[BOARD_NUMBER].Board_Work == 0)
		{
		    WS_WriteAll_RGB_FRAME_DOWN(0,0,0);
				WS_WriteAll_RGB_REC(0,0,0);
				WS_WriteAll_RGB_FRAME_UP(0,0,0);
			  WS_WriteAll_RGB_FRAME(0,0,0);
		   	WS_CloseAll_Circle();
			  Big_Fu_info[BOARD_NUMBER].Single_Hit_State = 0;
				Big_Fu_info[BOARD_NUMBER].Hit_LED_state = 0;
			  Big_Fu_info[BOARD_NUMBER].Twinkle_Already = 0;

			  Rings_Key_record.one_ring_record = 0;
				Rings_Key_record.two_ring_record = 0;
				Rings_Key_record.three_ring_record = 0;
				Rings_Key_record.four_ring_record = 0;
				Rings_Key_record.five_ring_record = 0;
				Rings_Key_record.six_ring_record = 0;
				Rings_Key_record.seven_ring_record = 0;
				Rings_Key_record.eight_ring_record = 0;
				Rings_Key_record.nine_ring_record = 0;
				Rings_Key_record.ten_ring_record = 0;
		   	cntt = 0;
				buffer_time = 0;

		}

		/*蓝色模式*/
		if(Big_Fu_info[BOARD_NUMBER].Color == BLUE)
		{
			/*待击打显示*/
			if(Big_Fu_info[BOARD_NUMBER].Hit_LED_state == NO && Big_Fu_info[BOARD_NUMBER].Single_Hit_State == 0 && Board_Order_info[BOARD_NUMBER].Board_Work == 1)
			{

        WS_Write_Cross(0,0,BLUE_NUM);
				WS_Write_RGB_TWO_RING(0,0,BLUE_NUM);
				WS_Write_RGB_SIX_RING(0,0,BLUE_NUM);
				WS_Write_RGB_NINE_RING(0,0,BLUE_NUM);

				if(cntt<=50)
				cntt++;
				if(cntt <= 30)
				{
					LED_Blue_rectangle_current(0,0,0,BLUE_NUM);
          WS_WriteAll_RGB_FRAME_UP(0,0,BLUE_NUM);
          WS_WriteAll_RGB_FRAME_DOWN(0,0,BLUE_NUM);
				}

				if(cntt >= 50)
				{
					HAL_TIM_PWM_Stop_DMA(&htim2, TIM_CHANNEL_2);
					HAL_TIM_PWM_Stop_DMA(&htim3, TIM_CHANNEL_1);
					cntt = 51;

				}
				/* 判断是否击打 */
				if(Rings_Key.one_ring == 0
				||Rings_Key.two_ring == 0
		   	||Rings_Key.three_ring == 0
				||Rings_Key.four_ring == 0
	    	||Rings_Key.five_ring == 0
			  ||Rings_Key.six_ring == 0
				||Rings_Key.seven_ring == 0
			  ||Rings_Key.eight_ring == 0
			  ||Rings_Key.nine_ring == 0
			  ||Rings_Key.ten_ring == 0)
			{
		    Big_Fu_info[BOARD_NUMBER].Hit_LED_state = 1;
				buffer_time++;
				WS_CloseAll_Circle();
		  }
			else
			{
        buffer_time	 = 0;
			}
			/* buffer_time的设置是防止弹丸瞬间击打到两个环的中间部分导致两环电平同时变化从而同时点亮 */

				if(buffer_time > 0)
				{
					  if(Rings_Key.one_ring == 0)
						{
							Rings_Key_record.one_ring_record = 1;
						}
						else if(Rings_Key.two_ring == 0)
						{
							Rings_Key_record.two_ring_record = 1;
						}
						else if(Rings_Key.three_ring == 0)
						{
							Rings_Key_record.three_ring_record = 1;
						}
						else if(Rings_Key.four_ring == 0)
						{
							Rings_Key_record.four_ring_record = 1;
						}
						else if(Rings_Key.five_ring == 0)
						{
							Rings_Key_record.five_ring_record = 1;
						}
						else if(Rings_Key.six_ring == 0)
						{
							Rings_Key_record.six_ring_record = 1;
						}
						else if(Rings_Key.seven_ring == 0)
						{
							Rings_Key_record.seven_ring_record = 1;
						}
						else if(Rings_Key.eight_ring == 0)
						{
							Rings_Key_record.eight_ring_record = 1;
						}
						else if(Rings_Key.nine_ring == 0)
						{
							Rings_Key_record.nine_ring_record = 1;
						}
						else if(Rings_Key.ten_ring == 0)
						{
							Rings_Key_record.ten_ring_record = 1;
						}

						 if(Rings_Key_record.one_ring_record && Rings_Key_record.two_ring_record)
						{
							Rings_Key_record.two_ring_record = 0;
						}
						else if(Rings_Key_record.two_ring_record && Rings_Key_record.three_ring_record)
						{
							Rings_Key_record.three_ring_record = 0;
						}
						else if(Rings_Key_record.three_ring_record && Rings_Key_record.four_ring_record)
						{
							Rings_Key_record.four_ring_record = 0;
						}
						else if(Rings_Key_record.four_ring_record && Rings_Key_record.five_ring_record)
						{
							Rings_Key_record.five_ring_record = 0;
						}
						else if(Rings_Key_record.five_ring_record && Rings_Key_record.six_ring_record)
						{
							Rings_Key_record.six_ring_record = 0;
						}
						else if(Rings_Key_record.six_ring_record && Rings_Key_record.seven_ring_record)
						{
							Rings_Key_record.seven_ring_record = 0;
						}
						else if(Rings_Key_record.seven_ring_record && Rings_Key_record.eight_ring_record)
						{
							Rings_Key_record.eight_ring_record = 0 ;
						}
						else if(Rings_Key_record.eight_ring_record && Rings_Key_record.nine_ring_record)
						{
							Rings_Key_record.nine_ring_record = 0;
						}
						else if(Rings_Key_record.nine_ring_record && Rings_Key_record.ten_ring_record)
						{
							Rings_Key_record.ten_ring_record = 0;
						}

				}
			}
      /*击中确认*/
			if(Big_Fu_info[BOARD_NUMBER].Hit_LED_state == YES && Board_Order_info[BOARD_NUMBER].Twinkle_state == NO && Board_Order_info[BOARD_NUMBER].Board_Work == 1)
			{
				Big_Fu_info[BOARD_NUMBER].Single_Hit_State =YES;
				cntt = 0;
				down_cntt = 0;

			}
			/*显示击中灯效*/
			if(Big_Fu_info[BOARD_NUMBER].Single_Hit_State == YES && Board_Order_info[BOARD_NUMBER].Twinkle_state == NO  )
			{

				WS_WriteAll_RGB_REC(0,0,BLUE_NUM);

        WS_WriteAll_RGB_FRAME(0,0,BLUE_NUM);

        if(Rings_Key_record.one_ring_record == 1)
				{
					WS_Write_RGB_ONE_RING(0,0,BLUE_NUM);

				}
		  	if(Rings_Key_record.two_ring_record == 1)
				{
					WS_Write_RGB_TWO_RING(0,0,BLUE_NUM);
				}
				if(Rings_Key_record.three_ring_record == 1)
				{
					WS_Write_RGB_THREE_RING(0,0,BLUE_NUM);
				}
				if(Rings_Key_record.four_ring_record == 1)
				{
					WS_Write_RGB_FOUR_RING(0,0,BLUE_NUM);
				}
				if(Rings_Key_record.five_ring_record == 1)
				{
					WS_Write_RGB_FIVE_RING(0,0,BLUE_NUM);
				}
				if(Rings_Key_record.six_ring_record == 1)
				{
					WS_Write_RGB_SIX_RING(0,0,BLUE_NUM);
				}
				if(Rings_Key_record.seven_ring_record == 1)
				{
					WS_Write_RGB_SEVEN_RING(0,0,BLUE_NUM);
				}
				if(Rings_Key_record.eight_ring_record == 1)
				{
					WS_Write_RGB_EIGHT_RING(0,0,BLUE_NUM);
				}
				if(Rings_Key_record.nine_ring_record == 1)
				{
					WS_Write_RGB_NINE_RING(0,0,BLUE_NUM);
				}
				if(Rings_Key_record.ten_ring_record == 1)
				{
					WS_Write_RGB_TEN_RING(0,0,BLUE_NUM);
					WS_Write_RGB_EIGHT_RING(0,0,BLUE_NUM);
					WS_Write_RGB_SIX_RING(0,0,BLUE_NUM);
					WS_Write_RGB_FOUR_RING(0,0,BLUE_NUM);
					WS_Write_RGB_TWO_RING(0,0,BLUE_NUM);
				}

			}

		}

    /*红色模式*/
		if(Big_Fu_info[BOARD_NUMBER].Color == RED)
		{
      /*待击打显示*/
			if(Big_Fu_info[BOARD_NUMBER].Hit_LED_state == 0 && Big_Fu_info[BOARD_NUMBER].Single_Hit_State == 0 && Board_Order_info[BOARD_NUMBER].Board_Work == 1)
			{
        WS_Write_Cross(RED_NUM,0,0);
				WS_Write_RGB_TWO_RING(RED_NUM,0,0);
				WS_Write_RGB_SIX_RING(RED_NUM,0,0);
				WS_Write_RGB_NINE_RING(RED_NUM,0,0);

				if(cntt<=70)
				cntt++;
				if(cntt <= 40)
				{
					LED_Blue_rectangle_current(0,RED_NUM,0,0);
          WS_WriteAll_RGB_FRAME_UP(RED_NUM,0,0);
          WS_WriteAll_RGB_FRAME_DOWN(RED_NUM,0,0);
				}

				if(cntt >= 70)
				{
					HAL_TIM_PWM_Stop_DMA(&htim2, TIM_CHANNEL_2);
					HAL_TIM_PWM_Stop_DMA(&htim3, TIM_CHANNEL_1);
					cntt = 71;

				}
					if(Rings_Key.one_ring == 0
				||Rings_Key.two_ring == 0
		   	||Rings_Key.three_ring == 0
				||Rings_Key.four_ring == 0
	    	||Rings_Key.five_ring == 0
			  ||Rings_Key.six_ring == 0
				||Rings_Key.seven_ring == 0
			  ||Rings_Key.eight_ring == 0
			  ||Rings_Key.nine_ring == 0
			  ||Rings_Key.ten_ring == 0)
			{
		    Big_Fu_info[BOARD_NUMBER].Hit_LED_state = 1;
				buffer_time++;
				WS_CloseAll_Circle();
		  }
			else
			{
        buffer_time	 = 0;
			}
				if(buffer_time > 0)
				{
					  if(Rings_Key.one_ring == 0)
						{
							Rings_Key_record.one_ring_record = 1;
						}
						else if(Rings_Key.two_ring == 0)
						{
							Rings_Key_record.two_ring_record = 1;
						}
						else if(Rings_Key.three_ring == 0)
						{
							Rings_Key_record.three_ring_record = 1;
						}
						else if(Rings_Key.four_ring == 0)
						{
							Rings_Key_record.four_ring_record = 1;
						}
						else if(Rings_Key.five_ring == 0)
						{
							Rings_Key_record.five_ring_record = 1;
						}
						else if(Rings_Key.six_ring == 0)
						{
							Rings_Key_record.six_ring_record = 1;
						}
						else if(Rings_Key.seven_ring == 0)
						{
							Rings_Key_record.seven_ring_record = 1;
						}
						else if(Rings_Key.eight_ring == 0)
						{
							Rings_Key_record.eight_ring_record = 1;
						}
						else if(Rings_Key.nine_ring == 0)
						{
							Rings_Key_record.nine_ring_record = 1;
						}
						else if(Rings_Key.ten_ring == 0)
						{
							Rings_Key_record.ten_ring_record = 1;
						}

						 if(Rings_Key_record.one_ring_record && Rings_Key_record.two_ring_record)
						{
							Rings_Key_record.two_ring_record = 0;
						}
						else if(Rings_Key_record.two_ring_record && Rings_Key_record.three_ring_record)
						{
							Rings_Key_record.three_ring_record = 0;
						}
						else if(Rings_Key_record.three_ring_record && Rings_Key_record.four_ring_record)
						{
							Rings_Key_record.four_ring_record = 0;
						}
						else if(Rings_Key_record.four_ring_record && Rings_Key_record.five_ring_record)
						{
							Rings_Key_record.five_ring_record = 0;
						}
						else if(Rings_Key_record.five_ring_record && Rings_Key_record.six_ring_record)
						{
							Rings_Key_record.six_ring_record = 0;
						}
						else if(Rings_Key_record.six_ring_record && Rings_Key_record.seven_ring_record)
						{
							Rings_Key_record.seven_ring_record = 0;
						}
						else if(Rings_Key_record.seven_ring_record && Rings_Key_record.eight_ring_record)
						{
							Rings_Key_record.eight_ring_record = 0 ;
						}
						else if(Rings_Key_record.eight_ring_record && Rings_Key_record.nine_ring_record)
						{
							Rings_Key_record.nine_ring_record = 0;
						}
						else if(Rings_Key_record.nine_ring_record && Rings_Key_record.ten_ring_record)
						{
							Rings_Key_record.ten_ring_record = 0;
						}

				}
			}

     /*击中显示*/
			if(Big_Fu_info[BOARD_NUMBER].Hit_LED_state == YES && Board_Order_info[BOARD_NUMBER].Twinkle_state == NO && Board_Order_info[BOARD_NUMBER].Board_Work == 1)
			{
				Big_Fu_info[BOARD_NUMBER].Single_Hit_State =YES;
				cntt = 0;
				down_cntt = 0;

			}
			if(Big_Fu_info[BOARD_NUMBER].Single_Hit_State == YES && Board_Order_info[BOARD_NUMBER].Twinkle_state == NO )
			{

				WS_WriteAll_RGB_REC(RED_NUM,0,0);
				WS_WriteAll_RGB_FRAME_DOWN(255,0,0);
				WS_WriteAll_RGB_FRAME(RED_NUM,0,0);

				if(Rings_Key_record.one_ring_record == 1)
				{
					WS_Write_RGB_ONE_RING(RED_NUM,0,0);

				}
		  	if(Rings_Key_record.two_ring_record == 1)
				{
					WS_Write_RGB_TWO_RING(RED_NUM,0,0);
				}
				if(Rings_Key_record.three_ring_record == 1)
				{
					WS_Write_RGB_THREE_RING(RED_NUM,0,0);
				}
				if(Rings_Key_record.four_ring_record == 1)
				{
					WS_Write_RGB_FOUR_RING(RED_NUM,0,0);
				}
				if(Rings_Key_record.five_ring_record == 1)
				{
					WS_Write_RGB_FIVE_RING(RED_NUM,0,0);
				}
				if(Rings_Key_record.six_ring_record == 1)
				{
					WS_Write_RGB_SIX_RING(RED_NUM,0,0);
				}
				if(Rings_Key_record.seven_ring_record == 1)
				{
					WS_Write_RGB_SEVEN_RING(RED_NUM,0,0);
				}
				if(Rings_Key_record.eight_ring_record == 1)
				{
					WS_Write_RGB_EIGHT_RING(RED_NUM,0,0);
				}
				if(Rings_Key_record.nine_ring_record == 1)
				{
					WS_Write_RGB_NINE_RING(RED_NUM,0,0);
				}
				if(Rings_Key_record.ten_ring_record == 1)
				{
					WS_Write_RGB_TEN_RING(RED_NUM,0,0);
					WS_Write_RGB_EIGHT_RING(RED_NUM,0,0);
					WS_Write_RGB_SIX_RING(RED_NUM,0,0);
					WS_Write_RGB_FOUR_RING(RED_NUM,0,0);
					WS_Write_RGB_TWO_RING(RED_NUM,0,0);
				}

			}
			}
		}

    /******************************彩色炫酷流水灯*************************************/
    if (Board_Order_info[BOARD_NUMBER].RainBow_Flag)
		{
			WS_CloseAll_Circle();
			#if BOARD_NUMBER == 0
				Rainbow_Current(255,153,100);            //253,153,100  玫瑰红
				WS_Write_RGB_ALL_Delay( 0,  51,  100 );  //0,51,255      蓝
				Rainbow_Current(0,0,0);
				WS_Write_RGB_ALL_Delay( 0,  0,  0 );
				WS_Write_RGB_ALL_Delay( 21,  155,  55 );  //51,153，102 海绿
			  Rainbow_Current(255,153,100);            //255,204,0  金色
				Rainbow_Current(0,0,0);
				WS_Write_RGB_ALL_Delay( 0,  0,  0 );
			#endif

			#if BOARD_NUMBER == 1
				Rainbow_Current(255,204,0);            //255,204,0  金色
				WS_Write_RGB_ALL_Delay( 21,  155,  55 );  //51,153，102 海绿
				Rainbow_Current(0,0,0);
				WS_Write_RGB_ALL_Delay( 0,  0,  0 );
				WS_Write_RGB_ALL_Delay( 128,  128,  0 );  //128,128，0 深黄
		  	Rainbow_Current(0,51,0);    //0,51,0 深绿
				Rainbow_Current(0,0,0);
				WS_Write_RGB_ALL_Delay( 0,  0,  0 );
			#endif

			#if BOARD_NUMBER == 2
				Rainbow_Current(0,0,255);            //0,0,255 蓝色
				WS_Write_RGB_ALL_Delay( 255, 0,  0 );  //255,0,0 红色
				Rainbow_Current(0,0,0);
				WS_Write_RGB_ALL_Delay( 0,  0,  0 );
				WS_Write_RGB_ALL_Delay( 0,  51,  100 );  //0,51,255      蓝
				Rainbow_Current(255,153,100);            //253,153,100  玫瑰红
				Rainbow_Current(0,0,0);
				WS_Write_RGB_ALL_Delay( 0,  0,  0 );
			#endif

			#if BOARD_NUMBER == 3
				Rainbow_Current(0,51,0);            //0,51,0 深绿
				WS_Write_RGB_ALL_Delay( 128,  128,  0 );  //128,128，0 深黄
				Rainbow_Current(0,0,0);
				WS_Write_RGB_ALL_Delay( 0,  0,  0 );
				WS_Write_RGB_ALL_Delay( 255, 0,  0 );  //255,0,0 红色
				Rainbow_Current(0,0,255);            //0,0,255 蓝色
				Rainbow_Current(0,0,0);
				WS_Write_RGB_ALL_Delay( 0,  0,  0 );
			#endif

			#if BOARD_NUMBER == 4
				Rainbow_Current(102,102,153);            //102,102,153  蓝灰
				WS_Write_RGB_ALL_Delay( 255,  102,  0 );  //255,102,0 桔黄
				Rainbow_Current(0,0,0);
				WS_Write_RGB_ALL_Delay( 0,  0,  0 );
				WS_Write_RGB_ALL_Delay( 21,  155,  55 );  //51,153，102 海绿
				Rainbow_Current(0,51,0);            //0,51,0 深绿
				Rainbow_Current(0,0,0);
				WS_Write_RGB_ALL_Delay( 0,  0,  0 );
			#endif
		/******************************彩色炫酷流水灯*************************************/

		}

		HAL_Delay(1);
 }
}}
  /* USER CODE END 3 */

void SystemClock_Config(void)
{
  RCC_OscInitTypeDef RCC_OscInitStruct = {0};
  RCC_ClkInitTypeDef RCC_ClkInitStruct = {0};

  /** Initializes the RCC Oscillators according to the specified parameters
  * in the RCC_OscInitTypeDef structure.
  */
  RCC_OscInitStruct.OscillatorType = RCC_OSCILLATORTYPE_HSE;
  RCC_OscInitStruct.HSEState = RCC_HSE_ON;
  RCC_OscInitStruct.HSEPredivValue = RCC_HSE_PREDIV_DIV1;
  RCC_OscInitStruct.HSIState = RCC_HSI_ON;
  RCC_OscInitStruct.PLL.PLLState = RCC_PLL_ON;
  RCC_OscInitStruct.PLL.PLLSource = RCC_PLLSOURCE_HSE;
  RCC_OscInitStruct.PLL.PLLMUL = RCC_PLL_MUL9;
  if (HAL_RCC_OscConfig(&RCC_OscInitStruct) != HAL_OK)
  {
    Error_Handler();
  }

  /** Initializes the CPU, AHB and APB buses clocks
  */
  RCC_ClkInitStruct.ClockType = RCC_CLOCKTYPE_HCLK|RCC_CLOCKTYPE_SYSCLK
                              |RCC_CLOCKTYPE_PCLK1|RCC_CLOCKTYPE_PCLK2;
  RCC_ClkInitStruct.SYSCLKSource = RCC_SYSCLKSOURCE_PLLCLK;
  RCC_ClkInitStruct.AHBCLKDivider = RCC_SYSCLK_DIV1;
  RCC_ClkInitStruct.APB1CLKDivider = RCC_HCLK_DIV2;
  RCC_ClkInitStruct.APB2CLKDivider = RCC_HCLK_DIV1;

  if (HAL_RCC_ClockConfig(&RCC_ClkInitStruct, FLASH_LATENCY_2) != HAL_OK)
  {
    Error_Handler();
  }
}

/* USER CODE BEGIN 4 */
void state_1(void)
{		WS_Write_Cross(0,0,255);
		WS_Write_RGB_TWO_RING(0,0,255);
		WS_Write_RGB_SEVEN_RING(0,0,255);
		WS_Write_RGB_NINE_RING(0,0,255);

		WS_WriteAll_RGB_FRAME(0,0,0);
		WS_WriteAll_RGB_FRAME_DOWN(0,0,255);
		WS_WriteAll_RGB_FRAME_UP(0,0,255);
  	LED_Blue_rectangle_current(20000,0,0,255);}

void state_2(void)
{			WS_WriteAll_RGB_REC(0,0,150);
			WS_WriteAll_RGB_FRAME(0,0,150);
			WS_CloseAll_Circle();
			WS_WriteAll_RGB_FRAME_DOWN(0,0,255);
		WS_WriteAll_RGB_FRAME_UP(0,0,255);
			WS_Write_RGB_ONE_RING(0,0,255);}
/* USER CODE END 4 */

void Error_Handler(void)
{
  __disable_irq();
  while (1)
  {
  }
}
